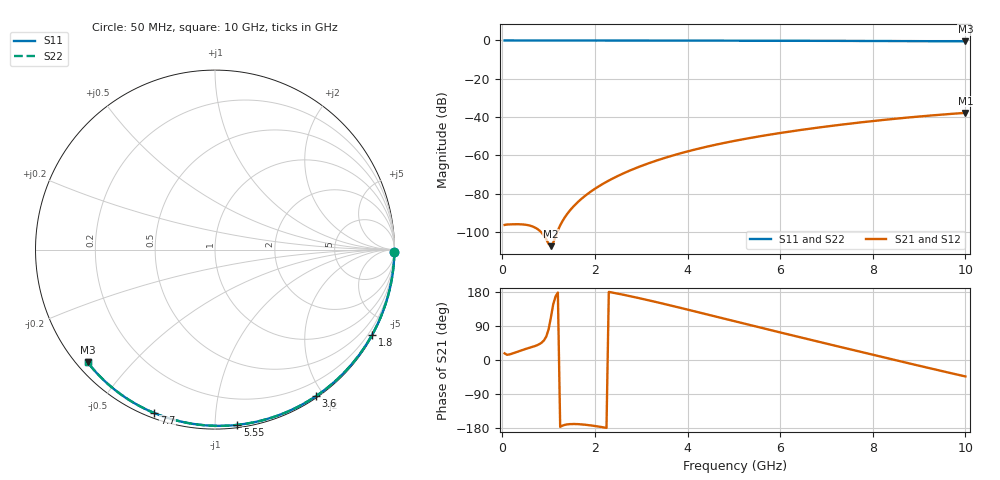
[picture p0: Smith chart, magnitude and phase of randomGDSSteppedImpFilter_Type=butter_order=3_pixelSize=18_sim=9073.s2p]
! freq	dB(S11)	phase(S11)	dB(S12)	phase(S12)
!  dB(S21)	phase(S21)	dB(S22)	phase(S22)
!S-par simulation data
#  GHz  S  DB  R 50
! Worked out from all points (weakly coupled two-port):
!   200 points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, 50 MHz to 10 GHz, reference 50 ohm
!   highest |S21| = -37.81 dB at 10 GHz (marker M1); lowest = -107.4 dB at 1.05 GHz (marker M2)
!   lowest |S11| = -0.5 dB at 10 GHz (marker M3), VSWR 37.18, Z = 1.54 - j19 ohm
!   |S11| at or under -10 dB: nowhere
!   |S22| runs from -0.5 to 0.0 dB; largest |S21 - S12| = 0
!   S11 on the Smith chart (normalised r, x): 50 MHz: open; 1.8 GHz: 0.03, -3.95; 3.6 GHz: 0.02, -1.90; 5.55 GHz: 0.02, -1.14; 7.7 GHz: 0.02, -0.69; 10 GHz: 0.03, -0.38
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0.05  -0.01 -0.8  -96.33 17.5  -96.33 17.5  -0.01 -0.8
0.55  -0.01 -8.8  -96.41 30.8  -96.41 30.8  -0.01 -8.8
1.05  -0.02 -16.7  -107.41 112.4  -107.41 112.4  -0.02 -16.7
1.75  -0.04 -27.6  -81.86 -170.3  -81.86 -170.3  -0.04 -27.6
1.8  -0.04 -28.4  -80.89 -170.9  -80.89 -170.9  -0.04 -28.4
1.85  -0.04 -29.2  -79.98 -171.6  -79.98 -171.6  -0.04 -29.2
2  -0.04 -31.5  -77.45 -174.1  -77.45 -174.1  -0.04 -31.5
2.15  -0.04 -33.8  -75.18 -177.1  -75.18 -177.1  -0.04 -33.8
2.35  -0.05 -36.8  -72.50 178.6  -72.50 178.6  -0.05 -36.8
2.55  -0.05 -39.9  -70.12 173.8  -70.12 173.8  -0.05 -39.9
2.95  -0.06 -45.9  -66.01 163.4  -66.01 163.4  -0.06 -45.9
3.4  -0.07 -52.5  -62.16 150.7  -62.16 150.7  -0.07 -52.5
3.6  -0.07 -55.4  -60.65 144.9  -60.65 144.9  -0.07 -55.4
4.3  -0.09 -65.5  -56.13 124.0  -56.13 124.0  -0.09 -65.5
5.05  -0.12 -75.9  -52.26 101.3  -52.26 101.3  -0.12 -75.9
5.55  -0.14 -82.7  -50.08 86.2  -50.08 86.2  -0.14 -82.7
6.1  -0.16 -90.0  -47.95 69.8  -47.95 69.8  -0.16 -90.0
6.7  -0.19 -97.8  -45.89 52.0  -45.89 52.0  -0.19 -97.8
7.7  -0.25 -110.4  -42.89 22.7  -42.89 22.7  -0.25 -110.4
8.35  -0.30 -118.4  -41.20 3.7  -41.20 3.7  -0.30 -118.4
9.2  -0.38 -128.8  -39.30 -20.9  -39.30 -20.9  -0.38 -128.8
10  -0.47 -138.4  -37.81 -43.4  -37.81 -43.4  -0.47 -138.4
